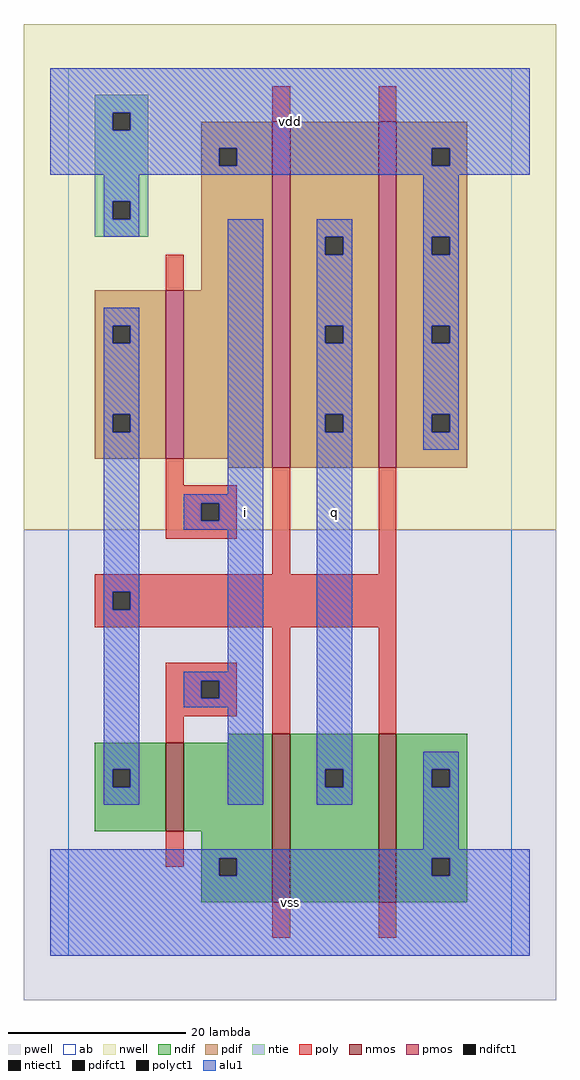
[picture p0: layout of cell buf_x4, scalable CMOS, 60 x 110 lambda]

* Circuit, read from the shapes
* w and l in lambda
.subckt buf_x4 i q vdd vss
M1 vss i n1 VSUBS nfet w=10 l=2
M2 q n1 vss VSUBS nfet w=19 l=2 m=2
M3 vdd i n1 vdd pfet w=19 l=2
M4 q n1 vdd vdd pfet w=39 l=2 m=2
.ends

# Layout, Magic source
magic
tech scmos
<< ab >>
rect 0 0 50 100
<< nwell >>
rect -5 48 55 105
<< pwell >>
rect -5 -5 55 48
<< poly >>
rect 23 94 25 98
rect 35 94 37 98
rect 11 75 13 79
rect 11 53 13 56
rect 11 51 19 53
rect 11 49 15 51
rect 17 49 19 51
rect 11 47 19 49
rect 23 43 25 55
rect 35 43 37 55
rect 3 41 37 43
rect 3 39 5 41
rect 7 39 37 41
rect 3 37 37 39
rect 11 31 19 33
rect 11 29 15 31
rect 17 29 19 31
rect 11 27 19 29
rect 11 24 13 27
rect 23 25 25 37
rect 35 25 37 37
rect 11 10 13 14
rect 23 2 25 6
rect 35 2 37 6
<< ndif >>
rect 18 24 23 25
rect 3 21 11 24
rect 3 19 5 21
rect 7 19 11 21
rect 3 14 11 19
rect 13 14 23 24
rect 15 11 23 14
rect 15 9 17 11
rect 19 9 23 11
rect 15 6 23 9
rect 25 21 35 25
rect 25 19 29 21
rect 31 19 35 21
rect 25 6 35 19
rect 37 21 45 25
rect 37 19 41 21
rect 43 19 45 21
rect 37 11 45 19
rect 37 9 41 11
rect 43 9 45 11
rect 37 6 45 9
<< pdif >>
rect 15 91 23 94
rect 15 89 17 91
rect 19 89 23 91
rect 15 75 23 89
rect 3 71 11 75
rect 3 69 5 71
rect 7 69 11 71
rect 3 61 11 69
rect 3 59 5 61
rect 7 59 11 61
rect 3 56 11 59
rect 13 56 23 75
rect 18 55 23 56
rect 25 81 35 94
rect 25 79 29 81
rect 31 79 35 81
rect 25 71 35 79
rect 25 69 29 71
rect 31 69 35 71
rect 25 61 35 69
rect 25 59 29 61
rect 31 59 35 61
rect 25 55 35 59
rect 37 91 45 94
rect 37 89 41 91
rect 43 89 45 91
rect 37 81 45 89
rect 37 79 41 81
rect 43 79 45 81
rect 37 71 45 79
rect 37 69 41 71
rect 43 69 45 71
rect 37 61 45 69
rect 37 59 41 61
rect 43 59 45 61
rect 37 55 45 59
<< alu1 >>
rect -2 95 52 100
rect -2 93 5 95
rect 7 93 52 95
rect -2 91 52 93
rect -2 89 17 91
rect 19 89 41 91
rect 43 89 52 91
rect -2 88 52 89
rect 4 85 8 88
rect 4 83 5 85
rect 7 83 8 85
rect 4 81 8 83
rect 4 71 8 73
rect 4 69 5 71
rect 7 69 8 71
rect 4 61 8 69
rect 4 59 5 61
rect 7 59 8 61
rect 4 41 8 59
rect 18 52 22 83
rect 13 51 22 52
rect 13 49 15 51
rect 17 49 22 51
rect 13 48 22 49
rect 4 39 5 41
rect 7 39 8 41
rect 4 21 8 39
rect 18 32 22 48
rect 13 31 22 32
rect 13 29 15 31
rect 17 29 22 31
rect 13 28 22 29
rect 4 19 5 21
rect 7 19 8 21
rect 4 17 8 19
rect 18 17 22 28
rect 28 81 32 83
rect 28 79 29 81
rect 31 79 32 81
rect 28 71 32 79
rect 28 69 29 71
rect 31 69 32 71
rect 28 61 32 69
rect 28 59 29 61
rect 31 59 32 61
rect 28 21 32 59
rect 40 81 44 88
rect 40 79 41 81
rect 43 79 44 81
rect 40 71 44 79
rect 40 69 41 71
rect 43 69 44 71
rect 40 61 44 69
rect 40 59 41 61
rect 43 59 44 61
rect 40 57 44 59
rect 28 19 29 21
rect 31 19 32 21
rect 28 17 32 19
rect 40 21 44 23
rect 40 19 41 21
rect 43 19 44 21
rect 40 12 44 19
rect -2 11 52 12
rect -2 9 17 11
rect 19 9 41 11
rect 43 9 52 11
rect -2 0 52 9
<< ntie >>
rect 3 95 9 97
rect 3 93 5 95
rect 7 93 9 95
rect 3 85 9 93
rect 3 83 5 85
rect 7 83 9 85
rect 3 81 9 83
<< nmos >>
rect 11 14 13 24
rect 23 6 25 25
rect 35 6 37 25
<< pmos >>
rect 11 56 13 75
rect 23 55 25 94
rect 35 55 37 94
<< polyct1 >>
rect 15 49 17 51
rect 5 39 7 41
rect 15 29 17 31
<< ndifct1 >>
rect 5 19 7 21
rect 17 9 19 11
rect 29 19 31 21
rect 41 19 43 21
rect 41 9 43 11
<< ntiect1 >>
rect 5 93 7 95
rect 5 83 7 85
<< pdifct1 >>
rect 17 89 19 91
rect 5 69 7 71
rect 5 59 7 61
rect 29 79 31 81
rect 29 69 31 71
rect 29 59 31 61
rect 41 89 43 91
rect 41 79 43 81
rect 41 69 43 71
rect 41 59 43 61
<< labels >>
rlabel alu1 25 6 25 6 6 vss
rlabel alu1 30 50 30 50 6 q
rlabel alu1 20 50 20 50 6 i
rlabel alu1 25 94 25 94 6 vdd
<< end >>
